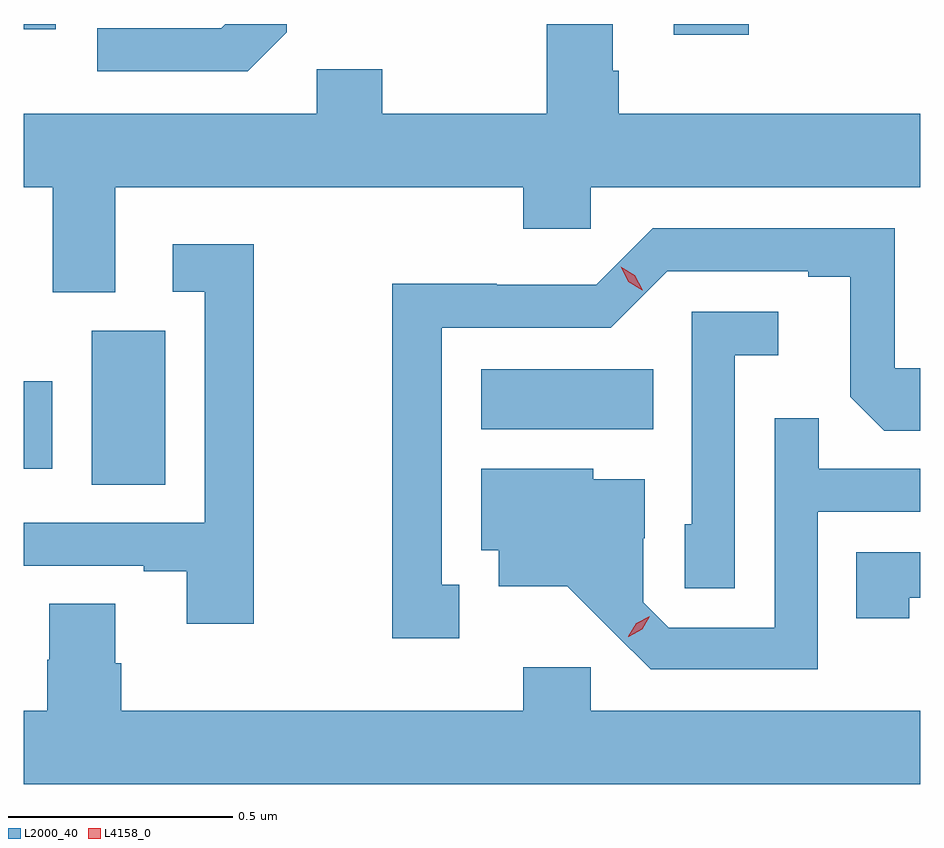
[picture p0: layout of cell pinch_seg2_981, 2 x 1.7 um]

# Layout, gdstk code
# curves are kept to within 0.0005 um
import gdstk
lib = gdstk.Library(unit=1e-6, precision=1e-09)
def R(c, l, rs):  # rectangles x0, y0, x1, y1
    for r in rs: c.add(gdstk.rectangle(r[:2], r[2:], *l))
def P(c, l, *ps):  # polygons
    for p in ps: c.add(gdstk.Polygon(p, *l))
L2000_40 = (2000, 40)
L4158_0 = (4158, 0)

pinch_seg2_981 = lib.new_cell('pinch_seg2_981')
R(pinch_seg2_981, L2000_40, [(318.098,664.288,318.262,664.632), (317.947,664.323,318.01,664.519), (318.968,664.412,319.352,664.546), (319.397,665.292,319.565,665.316), (317.947,665.304,318.018,665.316)])
P(pinch_seg2_981, L2000_40, [(318.151,664.952),(319.061,664.952),(319.061,664.859),(319.212,664.859),(319.212,664.952),(319.947,664.952),(319.947,665.116),(319.274,665.116),(319.274,665.212),(319.261,665.212),(319.261,665.316),(319.121,665.316),(319.121,665.315),(319.114,665.315),(319.114,665.116),(318.747,665.116),(318.747,665.215),(318.6,665.215),(318.6,665.116),(317.947,665.116),(317.947,664.952),(318.011,664.952),(318.011,664.717),(318.151,664.717)],
  [(318.534,665.298),(318.534,665.316),(318.396,665.316),(318.387,665.307),(318.111,665.307),(318.111,665.211),(318.447,665.211)],
  [(318.919,664.065),(318.88,664.065),(318.88,664.638),(319.257,664.638),(319.383,664.764),(319.697,664.764),(319.697,664.752),(319.791,664.752),(319.791,664.484),(319.867,664.408),(319.947,664.408),(319.947,664.548),(319.89,664.548),(319.89,664.86),(319.35,664.86),(319.224,664.734),(319.002,664.734),(319.002,664.736),(318.769,664.736),(318.769,663.945),(318.919,663.945)],
  [(318.46,664.825),(318.279,664.825),(318.279,664.719),(318.351,664.719),(318.351,664.203),(317.947,664.203),(317.947,664.107),(318.215,664.107),(318.215,664.095),(318.311,664.095),(318.311,663.978),(318.46,663.978)],
  [(319.533,664.577),(319.63,664.577),(319.63,664.674),(319.437,664.674),(319.437,664.2),(319.422,664.2),(319.422,664.057),(319.533,664.057)],
  [(319.719,664.227),(319.947,664.227),(319.947,664.323),(319.721,664.323),(319.721,664.436),(319.623,664.436),(319.623,663.969),(319.386,663.969),(319.329,664.026),(319.329,664.168),(319.333,664.168),(319.333,664.3),(319.218,664.3),(319.218,664.324),(318.968,664.324),(318.968,664.142),(319.007,664.142),(319.007,664.061),(319.159,664.061),(319.346,663.876),(319.719,663.876)],
  [(319.923,664.036),(319.947,664.036),(319.947,664.137),(319.804,664.137),(319.804,663.99),(319.923,663.99)],
  [(319.947,663.784),(319.212,663.784),(319.212,663.88),(319.061,663.88),(319.061,663.784),(318.164,663.784),(318.164,663.89),(318.151,663.89),(318.151,664.022),(318.004,664.022),(318.004,663.897),(317.999,663.897),(317.999,663.784),(317.947,663.784),(317.947,663.62),(319.947,663.62)])
P(pinch_seg2_981, L4158_0, [(319.296,663.949),(319.296,663.95),(319.313,663.979),(319.344,663.994),(319.344,663.994),(319.344,663.994),(319.327,663.965),(319.297,663.949)],
  [(319.327,664.722),(319.296,664.741),(319.279,664.774),(319.279,664.774),(319.279,664.774),(319.31,664.755),(319.328,664.722),(319.328,664.722)])

lib.write_gds('pinch_seg2_981.gds')
